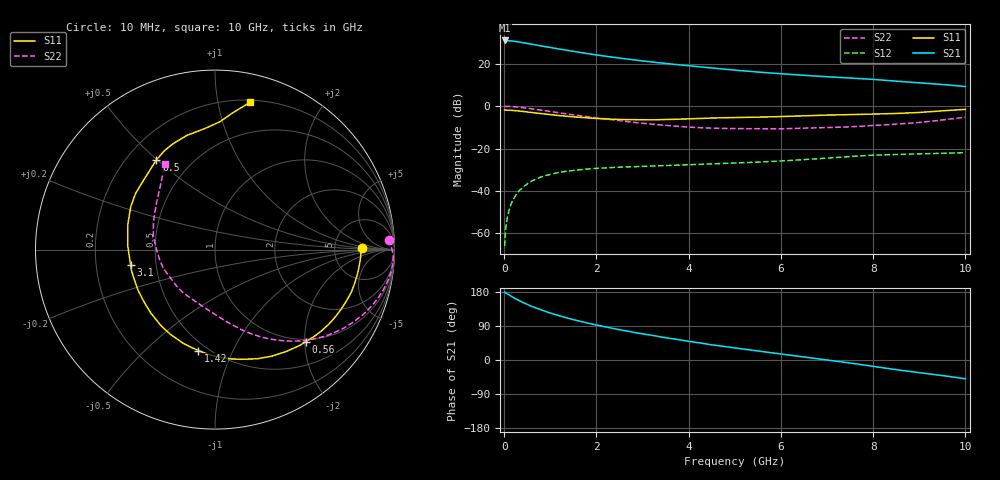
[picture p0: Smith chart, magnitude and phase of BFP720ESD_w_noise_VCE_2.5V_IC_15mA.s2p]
! Infineon Technologies  Discrete & RF Semiconductors
! BFP720ESD
! VCE =  2.5 V,  IC =  15 mA
! Common Emitter S-Parameters:  Jan 2016
# GHz  S  MA  R  50
!  f  S11  S21  S12  S22
! GHz  MAG  ANG  MAG  ANG  MAG  ANG  MAG  ANG
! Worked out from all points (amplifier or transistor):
!   233 points, 10 MHz to 10 GHz, reference 50 ohm
!   highest |S21| = 31.0 dB at 10 MHz (marker M1)
!   |S21| within 3 dB of that: start of sweep to 918.1 MHz
!   unconditionally stable (mu >= 1): 4.757 GHz to 7.329 GHz
!   at 200 MHz: K = 0.11, MSG = 37.3 dB, |S12| = -43.9 dB
!   at 1.74 GHz: K = 0.49, MSG = 27.4 dB, |S12| = -29.8 dB
!   at 10 GHz: K = 0.70, MSG = 15.6 dB, |S12| = -21.9 dB
!   lowest NFmin = 0.81 dB at 450 MHz
!   S11 on the Smith chart (normalised r, x): 10 MHz: 9.86, +0.59; 560 MHz: 0.95, -2.03; 1.42 GHz: 0.45, -0.74; 3.1 GHz: 0.36, -0.08; 6.5 GHz: 0.32, +0.50; 10 GHz: 0.22, +1.24
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0.01  0.8164 0.7  35.62 179.4  0.0005 62.2  0.9719 3.3
0.03  0.8123 -2.4  35.24 177.2  0.0011 91.0  0.9896 -0.8
0.1  0.8069 -8.8  35.13 172.3  0.0033 86.4  0.993 -5.0
0.15  0.8014 -13.1  34.75 168.5  0.0049 82.9  0.9868 -7.7
0.3  0.7768 -25.5  33.03 158.2  0.0094 76.0  0.9556 -15.1
0.45  0.7468 -37.1  30.99 149.4  0.0135 69.8  0.9149 -21.7
0.56  0.7209 -45.3  29.49 143.6  0.0162 65.6  0.8815 -26.1
0.7  0.6917 -55.4  27.78 136.7  0.0194 60.9  0.8403 -31.4
0.9  0.6524 -68.8  25.43 127.9  0.0232 54.9  0.7809 -38.1
1.16  0.6063 -84.9  22.68 117.9  0.027 48.4  0.7075 -45.8
1.42  0.5699 -99.4  20.27 108.9  0.0299 43.1  0.6426 -52.3
1.68  0.5429 -112.3  18.29 101.0  0.0321 38.9  0.5889 -58.0
1.96  0.5197 -125.0  16.44 93.4  0.034 35.4  0.5396 -63.3
2.38  0.4923 -142.9  14.23 82.8  0.036 31.3  0.4737 -71.2
3.1  0.478 -169.8  11.39 67.1  0.0385 26.8  0.3869 -84.4
3.4  0.4824 -179.5  10.48 61.0  0.0395 25.8  0.3614 -90.0
4  0.5054 164.0  9.017 49.3  0.0417 24.4  0.3223 -102.8
5.1  0.5434 143.1  6.961 30.1  0.0462 22.3  0.2971 -128.8
6.5  0.5968 123.2  5.371 7.9  0.055 20.2  0.3054 -159.6
6.8  0.6087 119.7  5.12 3.3  0.0578 19.3  0.3093 -165.6
8.4  0.6697 97.0  3.976 -23.8  0.0724 7.5  0.3721 157.3
10  0.8431 76.6  2.911 -49.6  0.0802 -4.4  0.5522 120.4
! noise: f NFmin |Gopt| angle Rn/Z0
0.45  0.81  0.12  1  0.13
0.9  0.83  0.12  7  0.12
1.9  0.85  0.1  5  0.13
2.4  0.86  0.09  4  0.14
5.5  1.05  0.14  -111  0.11
10  1.42  0.51  -89  0.39
